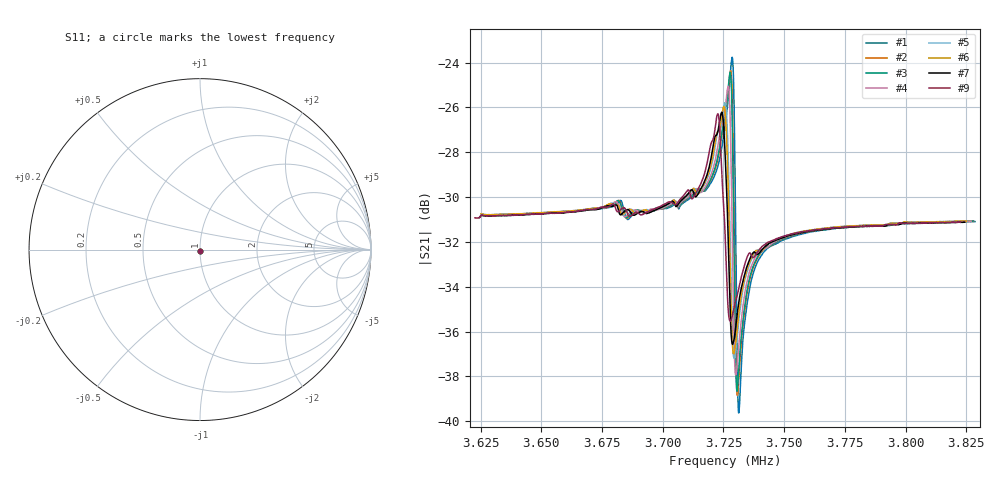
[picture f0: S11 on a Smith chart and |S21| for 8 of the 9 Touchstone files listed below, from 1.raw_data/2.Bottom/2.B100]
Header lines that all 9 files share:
# Hz S dB R 50.000
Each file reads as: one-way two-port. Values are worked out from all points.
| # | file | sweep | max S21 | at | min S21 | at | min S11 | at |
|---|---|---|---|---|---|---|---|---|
| 1 | B100_20C.s2p | 3.629 MHz to 3.829 MHz | -23.76 dB | 3.729 MHz | -39.6 dB | 3.731 MHz | -43.9 dB | 3.689 MHz |
| 2 | B100_25C.s2p | 3.628 MHz to 3.828 MHz | -24.35 dB | 3.728 MHz | -38.9 dB | 3.731 MHz | -44.2 dB | 3.828 MHz |
| 3 | B100_30C.s2p | 3.628 MHz to 3.828 MHz | -24.43 dB | 3.728 MHz | -38.7 dB | 3.731 MHz | -44.5 dB | 3.827 MHz |
| 4 | B100_35C.s2p | 3.627 MHz to 3.827 MHz | -25.05 dB | 3.727 MHz | -37.9 dB | 3.73 MHz | -44.5 dB | 3.827 MHz |
| 5 | B100_45C.s2p | 3.625 MHz to 3.825 MHz | -25.79 dB | 3.725 MHz | -37.2 dB | 3.729 MHz | -45.2 dB | 3.825 MHz |
| 6 | B100_50C.s2p | 3.625 MHz to 3.825 MHz | -25.96 dB | 3.725 MHz | -37.0 dB | 3.729 MHz | -45.2 dB | 3.821 MHz |
| 7 | B100_55C.s2p | 3.624 MHz to 3.824 MHz | -26.21 dB | 3.724 MHz | -36.6 dB | 3.729 MHz | -44.3 dB | 3.8 MHz |
| 8 | B100_60C.s2p | 3.623 MHz to 3.823 MHz | -26.28 dB | 3.723 MHz | -35.8 dB | 3.728 MHz | -44.2 dB | 3.803 MHz |
| 9 | B100_65C.s2p | 3.623 MHz to 3.823 MHz | -26.28 dB | 3.723 MHz | -35.5 dB | 3.728 MHz | -44.1 dB | 3.803 MHz |
